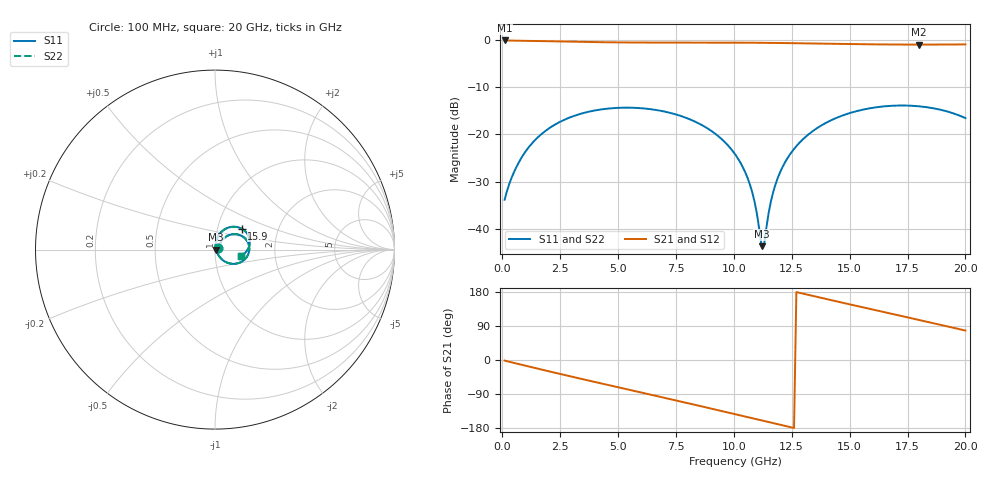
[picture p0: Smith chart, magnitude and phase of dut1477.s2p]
! Touchstone file exported from HFSS 2026.1.0
!  File:  C:/ffzhzh/LocalFiles/Ansys_Project_Files/temp_train_TSV_RDL_1477_1783362598_37376.aedt
!  Generated:  02:41:27 AM Jul  7, 2026
!  Design:  TSV_RDL
!  Project:  temp_train_TSV_RDL_1477_1783362598_37376
! Variables:
!  h_bsmrdl = 5.78um
!  h_ox = 20um
!  h_rdl = 5um
!  h_sub = 50.35um
!  h_tmrdl = 5.96um
!  h_tsv = 50.35um
!  h_via = 3um
!  l_bsmrdl = 329.8um
!  l_sub = 5088.79um
!  l_tmrdl = 898.98um
!  m_sub = 200um
!  pitch = 25.22um
!  r_tsv = 8.43um
!  s_tmrdl = 10um
!  w_bsmrdl = 19.13um
!  w_sub = 500um
!  w_tmrdl = 15.36um
!  x_tsv_center1 = 906.66um
!  x_tsv_center2 = 1255.59um
!  x_tsv_center3 = 2169.93um
!  x_tsv_center4 = 2518.86um
!  x_tsv_center5 = 3433.2um
!  x_tsv_center6 = 3782.13um
# GHz S MA R 50.000000
! Terminal data exported
! Port[1] = TM_RDL1_1_T1
! Port[2] = TM_RDL5_1_T1
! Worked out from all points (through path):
!   200 points, 100 MHz to 20 GHz, reference 50 ohm
!   highest |S21| = -0.16 dB at 100 MHz (marker M1); lowest = -1.0 dB at 18 GHz (marker M2)
!   group delay of S21, straight-line fit = 39.1 ps
!   lowest |S11| = -43.6 dB at 11.2 GHz (marker M3), VSWR 1.01, Z = 50.7 - j0.107 ohm
!   |S11| at or under -10 dB: start of sweep to end of sweep
!   |S22| runs from -43.0 to -13.9 dB; largest |S21 - S12| = 2.4e-14
!   S11 on the Smith chart (normalised r, x): 100 MHz: 1.04, +0.02; 15.9 GHz: 1.31, +0.32; 20 GHz: 1.33, -0.09
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0.1  0.02033 22.0  0.9813 -1.6  0.9813 -1.6  0.02033 22.0
! Gamma 0 0 0 0
! Port Impedance 50 0 50 0
0.6  0.04465 49.5  0.976 -9.1  0.976 -9.1  0.04465 49.5
1.3  0.08117 51.5  0.9702 -19.5  0.9702 -19.5  0.08116 51.5
2.3  0.1278 41.8  0.9597 -34.0  0.9597 -34.0  0.1277 41.9
3.5  0.1678 26.8  0.947 -51.0  0.947 -51.0  0.1677 26.9
5.2  0.1912 4.8  0.9351 -74.7  0.9351 -74.7  0.1911 4.9
6.8  0.178 -15.9  0.9314 -96.9  0.9314 -96.9  0.178 -15.8
8.8  0.1181 -41.6  0.9319 -125.1  0.9319 -125.1  0.1181 -41.4
10.1  0.0593 -56.3  0.9308 -143.6  0.9308 -143.6  0.05928 -55.8
10.5  0.03932 -58.8  0.9298 -149.3  0.9298 -149.3  0.03934 -58.0
10.8  0.02416 -57.2  0.9289 -153.7  0.9289 -153.7  0.02423 -55.9
11  0.01431 -49.3  0.9281 -156.5  0.9281 -156.5  0.01448 -47.3
11.2  0.00658 -9.3  0.9272 -159.4  0.9272 -159.4  0.007054 -7.1
11.3  0.00671 35.9  0.9267 -160.8  0.9267 -160.8  0.007232 34.7
11.6  0.01953 79.0  0.9252 -165.1  0.9252 -165.1  0.01978 77.6
12  0.03987 83.0  0.9227 -170.8  0.9227 -170.8  0.04004 82.2
12.6  0.07011 78.6  0.9185 -179.4  0.9185 -179.4  0.07023 78.2
13.4  0.1078 69.6  0.9122 169.3  0.9122 169.3  0.1079 69.3
15.9  0.189 38.0  0.8933 134.5  0.8933 134.5  0.189 37.9
16.7  0.1994 27.9  0.8897 123.5  0.8897 123.5  0.1995 27.7
18  0.1977 11.4  0.8876 105.6  0.8876 105.6  0.1977 11.3
20  0.1484 -13.1  0.8912 77.8  0.8912 77.8  0.1485 -13.3
